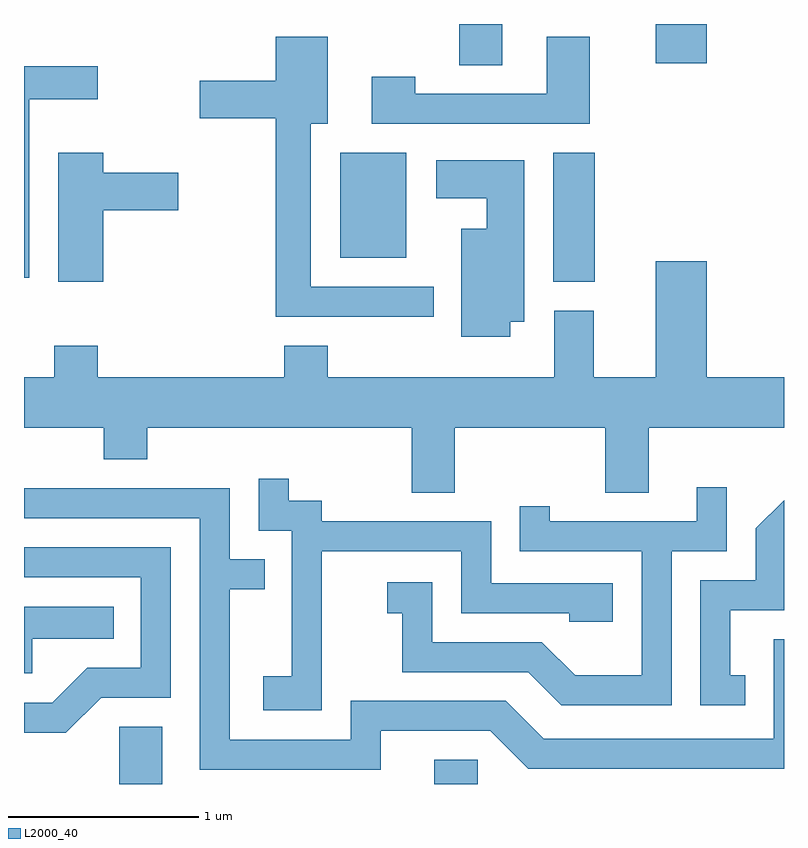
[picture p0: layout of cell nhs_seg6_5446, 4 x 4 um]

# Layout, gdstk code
import gdstk
lib = gdstk.Library(unit=1e-6, precision=1e-09)
def R(c, l, rs):  # rectangles x0, y0, x1, y1
    for r in rs: c.add(gdstk.rectangle(r[:2], r[2:], *l))
def P(c, l, *ps):  # polygons
    for p in ps: c.add(gdstk.Polygon(p, *l))
L2000_40 = (2000, 40)

nhs_seg6_5446 = lib.new_cell('nhs_seg6_5446')
R(nhs_seg6_5446, L2000_40, [(352.111,1548.162,352.339,1548.464), (353.771,1548.162,353.999,1548.289), (354.396,1550.806,354.614,1551.484), (353.276,1550.931,353.624,1551.484), (353.901,1551.946,354.129,1552.162), (354.936,1551.956,355.204,1552.162)])
P(nhs_seg6_5446, L2000_40, [(353.768,1550.779),(353.119,1550.779),(353.119,1551.636),(353.209,1551.636),(353.209,1552.094),(352.936,1552.094),(352.936,1551.864),(352.536,1551.864),(352.536,1551.666),(352.936,1551.666),(352.936,1550.621),(353.768,1550.621)],
  [(354.589,1552.094),(354.361,1552.094),(354.361,1551.794),(353.669,1551.794),(353.669,1551.884),(353.441,1551.884),(353.441,1551.636),(354.589,1551.636)],
  [(351.639,1551.766),(351.999,1551.766),(351.999,1551.939),(351.611,1551.939),(351.611,1550.826),(351.639,1550.826)],
  [(352.029,1551.181),(352.424,1551.181),(352.424,1551.379),(352.029,1551.379),(352.029,1551.484),(351.791,1551.484),(351.791,1550.806),(352.029,1550.806)],
  [(354.169,1550.596),(354.244,1550.596),(354.244,1551.444),(353.781,1551.444),(353.781,1551.246),(354.046,1551.246),(354.046,1551.084),(353.911,1551.084),(353.911,1550.516),(354.169,1550.516)],
  [(353.879,1550.036),(354.671,1550.036),(354.671,1549.696),(354.899,1549.696),(354.899,1550.036),(355.611,1550.036),(355.611,1550.304),(355.204,1550.304),(355.204,1550.914),(354.936,1550.914),(354.936,1550.304),(354.609,1550.304),(354.609,1550.654),(354.401,1550.654),(354.401,1550.304),(353.209,1550.304),(353.209,1550.469),(352.981,1550.469),(352.981,1550.304),(351.999,1550.304),(351.999,1550.469),(351.771,1550.469),(351.771,1550.304),(351.611,1550.304),(351.611,1550.036),(352.031,1550.036),(352.031,1549.871),(352.259,1549.871),(352.259,1550.036),(353.651,1550.036),(353.651,1549.696),(353.879,1549.696)],
  [(353.179,1549.386),(353.911,1549.386),(353.911,1549.061),(354.481,1549.061),(354.481,1549.016),(354.709,1549.016),(354.709,1549.219),(354.069,1549.219),(354.069,1549.544),(353.179,1549.544),(353.179,1549.654),(353.004,1549.654),(353.004,1549.768),(352.846,1549.768),(352.846,1549.496),(353.021,1549.496),(353.021,1548.729),(352.871,1548.729),(352.871,1548.551),(353.179,1548.551)],
  [(355.019,1549.386),(355.309,1549.386),(355.309,1549.723),(355.151,1549.723),(355.151,1549.544),(354.379,1549.544),(354.379,1549.623),(354.221,1549.623),(354.221,1549.386),(354.861,1549.386),(354.861,1548.734),(354.512,1548.734),(354.337,1548.909),(353.759,1548.909),(353.759,1549.224),(353.523,1549.224),(353.523,1549.061),(353.601,1549.061),(353.601,1548.751),(354.264,1548.751),(354.439,1548.576),(355.019,1548.576)],
  [(353.489,1548.441),(354.064,1548.441),(354.264,1548.241),(355.611,1548.241),(355.611,1548.924),(355.556,1548.924),(355.556,1548.399),(354.347,1548.399),(354.147,1548.599),(353.331,1548.599),(353.331,1548.394),(352.694,1548.394),(352.694,1549.186),(352.878,1549.186),(352.878,1549.344),(352.694,1549.344),(352.694,1549.719),(351.611,1549.719),(351.611,1549.561),(352.536,1549.561),(352.536,1548.236),(353.489,1548.236)],
  [(355.408,1548.734),(355.329,1548.734),(355.329,1549.076),(355.611,1549.076),(355.611,1549.656),(355.461,1549.507),(355.461,1549.234),(355.171,1549.234),(355.171,1548.576),(355.408,1548.576)],
  [(352.017,1548.616),(352.384,1548.616),(352.384,1549.409),(351.611,1549.409),(351.611,1549.251),(352.226,1549.251),(352.226,1548.774),(351.944,1548.774),(351.759,1548.589),(351.611,1548.589),(351.611,1548.431),(351.832,1548.431)],
  [(351.654,1548.926),(352.083,1548.926),(352.083,1549.094),(351.611,1549.094),(351.611,1548.746),(351.654,1548.746)])

lib.write_gds('nhs_seg6_5446.gds')
